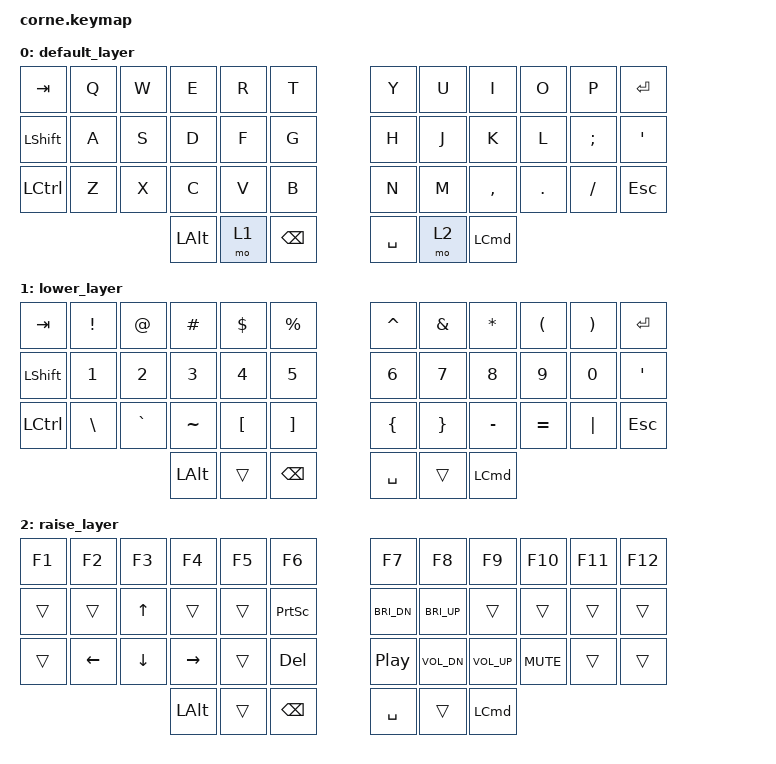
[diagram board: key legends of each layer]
/*
 * Copyright (c) 2020 The ZMK Contributors
 *
 * SPDX-License-Identifier: MIT
 */

#include <behaviors.dtsi>
#include <dt-bindings/zmk/keys.h>
#include <dt-bindings/zmk/bt.h>

/ {
        keymap {
                compatible = "zmk,keymap";

                default_layer {
// -----------------------------------------------------------------------------------------
// |  TAB |  Q  |  W  |  E  |  R  |  T  |   |  Y  |  U  |  I  |  O  |  P  | ENT  |
// | SHFT |  A  |  S  |  D  |  F  |  G  |   |  H  |  J  |  K  |  L  |  ;  |  '   |
// | CTRL |  Z  |  X  |  C  |  V  |  B  |   |  N  |  M  |  ,  |  .  |  /  | ESC  |
//                    | ALT |  1  | BKSP|   | SPC |  2  | LGUI|
                        bindings = <
   &kp TAB   &kp Q &kp W &kp E &kp R &kp T   &kp Y &kp U  &kp I     &kp O   &kp P    &kp RET

   &kp LSHFT &kp A &kp S &kp D &kp F &kp G   &kp H &kp J  &kp K     &kp L   &kp SEMI &kp SQT

   &kp LCTRL &kp Z &kp X &kp C &kp V &kp B   &kp N &kp M  &kp COMMA &kp DOT &kp FSLH &kp ESC

                  &kp LALT &mo 1 &kp BSPC   &kp SPACE &mo 2 &kp LCMD
                        >;
                };
                lower_layer {
// -----------------------------------------------------------------------------------------
// |  TAB |  !  |  @  |  #  |  $  |  %  |   |  ^  |  &  |  *  |  (  |  )  | ENT  |
// | SHFT |  1  |  2  |  3  |  4  |  5  |   |  6  |  7  |  8  |  9  |  0  |  '   |
// | CTRL |  \  |  `  |  ~  |  [  |  ]  |   |  {  |  }  |  -  |  =  |  |  | ESC  |
//                    | ALT |     | BKSP|   | SPC |     | LGUI |
                        bindings = <
   &kp TAB      &kp EXCL    &kp AT  &kp HASH    &kp DLLR    &kp PRCNT   &kp CARET   &kp AMPS    &kp ASTRK   &kp LPAR    &kp RPAR    &kp RET
   &kp LSHFT    &kp N1  &kp N2  &kp N3  &kp N4  &kp N5  &kp N6  &kp N7  &kp N8  &kp N9  &kp N0 &kp SQT
   &kp LCTRL    &kp BSLH    &kp GRAVE   &kp TILDE   &kp LBKT    &kp RBKT    &kp LBRC    &kp RBRC    &kp MINUS   &kp EQUAL   &kp PIPE    &kp ESC
                                    &kp LALT     &trans       &kp BSPC      &kp SPACE  &trans   &kp LCMD
                        >;
                };

                raise_layer {
// -----------------------------------------------------------------------------------------
// |  F1  | F2  | F3  | F4  | F5  | F6  |   | F7  | F8  | F9  | F10 | F11 | F12  |
// |      |     |  ⬆  |     |     |PSCRN|   | BRI-| BRI+|     |     |     |      |
// |      |  ⬅  |  ⬇  |  ⮕ |     | DEL |   |PAUSE| VOL-| VOL+| MUTE|     |      |
//                    | ALT |     | BKSP|   | SPC |     | LGUI|
                        bindings = <
   &kp F1  &kp F2 &kp F3 &kp F4 &kp F5 &kp F6   &kp F7 &kp F8  &kp F9 &kp F10 &kp F11 &kp F12
   &trans &trans &kp UP_ARROW &trans &trans &kp PSCRN      &kp C_BRI_DN &kp C_BRI_UP &trans &trans &trans &trans
   &trans &kp LEFT_ARROW &kp DOWN_ARROW &kp RIGHT_ARROW &trans &kp DEL      &kp C_PP &kp C_VOL_DN &kp C_VOL_UP &kp C_MUTE  &trans &trans
                             &kp LALT     &trans       &kp BSPC      &kp SPACE  &trans   &kp LCMD
                        >;
                };
        };
};
